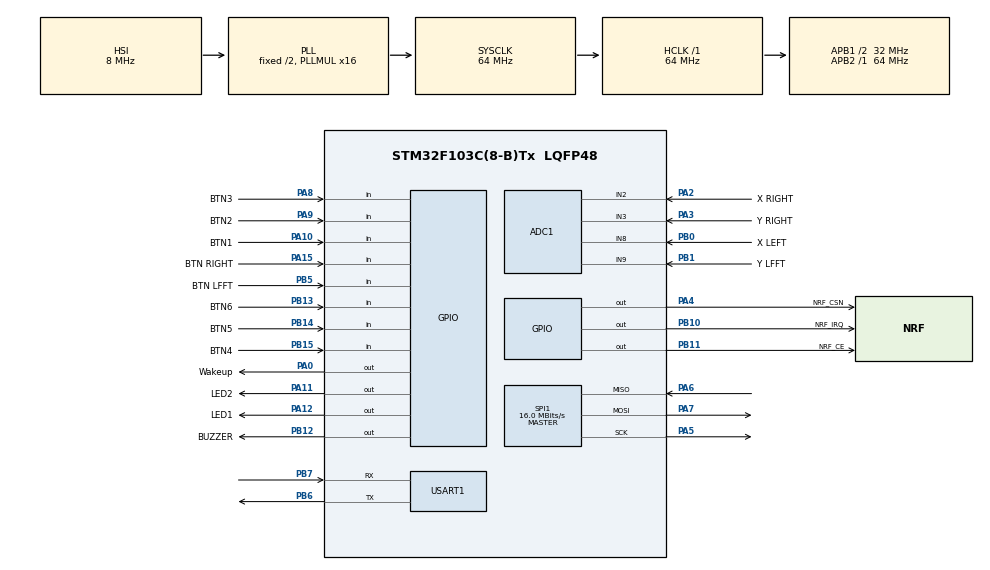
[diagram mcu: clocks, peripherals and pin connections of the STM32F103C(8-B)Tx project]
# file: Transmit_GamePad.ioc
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ADC1.Channel-0\#ChannelRegularConversion=ADC_CHANNEL_2
ADC1.Channel-1\#ChannelRegularConversion=ADC_CHANNEL_3
ADC1.Channel-2\#ChannelRegularConversion=ADC_CHANNEL_8
ADC1.Channel-3\#ChannelRegularConversion=ADC_CHANNEL_9
ADC1.ContinuousConvMode=ENABLE
ADC1.EnableInjectedConversion=DISABLE
ADC1.ExternalTrigConv=ADC_SOFTWARE_START
ADC1.NbrOfConversion=4
ADC1.NbrOfConversionFlag=1
ADC1.Rank-0\#ChannelRegularConversion=1
ADC1.Rank-1\#ChannelRegularConversion=2
ADC1.Rank-2\#ChannelRegularConversion=3
ADC1.Rank-3\#ChannelRegularConversion=4
ADC1.SamplingTime-0\#ChannelRegularConversion=ADC_SAMPLETIME_28CYCLES_5
ADC1.SamplingTime-1\#ChannelRegularConversion=ADC_SAMPLETIME_28CYCLES_5
ADC1.SamplingTime-2\#ChannelRegularConversion=ADC_SAMPLETIME_28CYCLES_5
ADC1.SamplingTime-3\#ChannelRegularConversion=ADC_SAMPLETIME_28CYCLES_5
ADC1.master=1
Dma.ADC1.0.Direction=DMA_PERIPH_TO_MEMORY
Dma.ADC1.0.Instance=DMA1_Channel1
Dma.ADC1.0.MemDataAlignment=DMA_MDATAALIGN_HALFWORD
Dma.ADC1.0.MemInc=DMA_MINC_ENABLE
Dma.ADC1.0.Mode=DMA_CIRCULAR
Dma.ADC1.0.PeriphDataAlignment=DMA_PDATAALIGN_HALFWORD
Dma.ADC1.0.PeriphInc=DMA_PINC_DISABLE
Dma.ADC1.0.Priority=DMA_PRIORITY_LOW
Dma.Request0=ADC1
Mcu.Family=STM32F1
Mcu.Name=STM32F103C(8-B)Tx
Mcu.Package=LQFP48
NVIC.DMA1_Channel1_IRQn=true\:0\:0\:false\:false\:true\:false\:true\:true
NVIC.PriorityGroup=NVIC_PRIORITYGROUP_4
PA0-WKUP.GPIO_Label=Wakeup
PA0-WKUP.Signal=GPIO_Output
PA10.GPIO_Label=BTN1
PA10.Signal=GPIO_Input
PA11.GPIO_Label=LED2
PA11.Signal=GPIO_Output
PA12.GPIO_Label=LED1
PA12.Signal=GPIO_Output
PA13.Mode=Serial_Wire
PA13.Signal=SYS_JTMS-SWDIO
PA14.Mode=Serial_Wire
PA14.Signal=SYS_JTCK-SWCLK
PA15.GPIO_Label=BTN RIGHT
PA15.GPIO_PuPd=GPIO_PULLUP
PA15.Signal=GPIO_Input
PA2.GPIO_Label=X RIGHT
PA2.Signal=ADCx_IN2
PA3.GPIO_Label=Y RIGHT
PA3.Signal=ADCx_IN3
PA4.GPIO_Label=NRF_CSN
PA4.Signal=GPIO_Output
PA5.Mode=Full_Duplex_Master
PA5.Signal=SPI1_SCK
PA6.Mode=Full_Duplex_Master
PA6.Signal=SPI1_MISO
PA7.Mode=Full_Duplex_Master
PA7.Signal=SPI1_MOSI
PA8.GPIO_Label=BTN3
PA8.Signal=GPIO_Input
PA9.GPIO_Label=BTN2
PA9.Signal=GPIO_Input
PB0.GPIO_Label=X LEFT
PB0.Signal=ADCx_IN8
PB1.GPIO_Label=Y LFFT
PB1.Signal=ADCx_IN9
PB10.GPIO_Label=NRF_IRQ
PB10.Signal=GPIO_Output
PB11.GPIO_Label=NRF_CE
PB11.Signal=GPIO_Output
PB12.GPIO_Label=BUZZER
PB12.Signal=GPIO_Output
PB13.GPIO_Label=BTN6
PB13.Signal=GPIO_Input
PB14.GPIO_Label=BTN5
PB14.Signal=GPIO_Input
PB15.GPIO_Label=BTN4
PB15.Signal=GPIO_Input
PB5.GPIO_Label=BTN LFFT
PB5.GPIO_PuPd=GPIO_PULLUP
PB5.Signal=GPIO_Input
PB6.Mode=Asynchronous
PB6.Signal=USART1_TX
PB7.Mode=Asynchronous
PB7.Signal=USART1_RX
ProjectManager.HeapSize=0x200
ProjectManager.StackSize=0x400
ProjectManager.TargetToolchain=STM32CubeIDE
RCC.ADCPresc=RCC_ADCPCLK2_DIV6
RCC.AHBFreq_Value=64000000
RCC.APB1CLKDivider=RCC_HCLK_DIV2
RCC.APB1Freq_Value=32000000
RCC.APB1TimFreq_Value=64000000
RCC.APB2Freq_Value=64000000
RCC.APB2TimFreq_Value=64000000
RCC.HCLKFreq_Value=64000000
RCC.PLLMUL=RCC_PLL_MUL16
RCC.SYSCLKFreq_VALUE=64000000
RCC.SYSCLKSource=RCC_SYSCLKSOURCE_PLLCLK
RCC.USBFreq_Value=64000000
SH.ADCx_IN2.0=ADC1_IN2,IN2
SH.ADCx_IN3.0=ADC1_IN3,IN3
SH.ADCx_IN8.0=ADC1_IN8,IN8
SH.ADCx_IN9.0=ADC1_IN9,IN9
SPI1.BaudRatePrescaler=SPI_BAUDRATEPRESCALER_4
SPI1.CalculateBaudRate=16.0 MBits/s
SPI1.Direction=SPI_DIRECTION_2LINES
SPI1.Mode=SPI_MODE_MASTER
SPI1.VirtualType=VM_MASTER
USART1.VirtualMode=VM_ASYNC
board=custom

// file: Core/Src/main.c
/* USER CODE BEGIN Header */
/**
  ******************************************************************************
  * @file           : main.c
  * @brief          : Main program body
  ******************************************************************************
  * @attention
  *
  * Copyright (c) 2025 STMicroelectronics.
  * All rights reserved.
  *
  * This software is licensed under terms that can be found in the LICENSE file
  * in the root directory of this software component.
  * If no LICENSE file comes with this software, it is provided AS-IS.
  *
  ******************************************************************************
  */
/* USER CODE END Header */
#include "main.h"

/* USER CODE BEGIN Includes */
#include "NRF24.h"
/* USER CODE END Includes */

/* USER CODE BEGIN PM */

// 4 ADC channel of two Joysticks
#define ADC_CHANNELS 4

/* USER CODE END PM */

ADC_HandleTypeDef hadc1;
DMA_HandleTypeDef hdma_adc1;

SPI_HandleTypeDef hspi1;

UART_HandleTypeDef huart1;

/* USER CODE BEGIN PV */

/*
 * [0]: X RIGHT
 * [1]: Y RIGHT
 * [2]: X LEFT
 * [3]: Y LEFT
 */
uint16_t adc_buffer[ADC_CHANNELS];

// TxAddress & TxData from NRF24 Transmit
uint8_t TxAddress[] = {0xEE, 0xDD, 0xCC, 0xBB, 0xAA};
uint8_t Tx_data[32] = {0};

/* USER CODE END PV */

void SystemClock_Config(void);
static void MX_GPIO_Init(void);
static void MX_DMA_Init(void);
static void MX_ADC1_Init(void);
static void MX_SPI1_Init(void);
static void MX_USART1_UART_Init(void);

/* USER CODE BEGIN 0 */
/* Lấy dữ liệu ADC đọc được khi xảy ra ngắt tại TIM3, 1ms ngắt 1 lần*/
void HAL_ADC_ConvCpltCallback(ADC_HandleTypeDef* hadc)
{
    if (hadc->Instance == ADC1)
    {

    }

}

/*
 * Đọc dữ liệu từ 2 Joystick và 6 nút nhấn, truyền qua NRF24
 *
 * 2 Joystick điều khiển: 1. Tăng giảm tốc độ 4 động cơ và góc roll pitch yaw; 2. Sử dụng Right Joystick để thay đổi hệ số PID
 *
 * RxData[0]: Joystick trái (Throttle) - Chỉ gửi flag tăng giảm chứ ko gửi nguyên scale giá trị ADC đọc được
 * 	- 1: tăng throttle
 * 	- 2: giảm throttle
 * 	- Khác: giữ nguyên
 *
 * RxData[1] + RxData[2] -> Yaw setpoint (1000 - 2000)
 * 	- Giải mã theo công thức: yaw = b1*100 + b2.
 *
 * RxData[3] + RxData[4] → Roll setpoint (1000–2000)
 * 	- Giải mã theo công thức: roll = b1*100 + b2.
 *
 * RxData[5] + RxData[6] → Pitch setpoint (1000–2000)
 *  - Công thức: pitch = b1*100 + b2.
 *
 * RxData[7]: FlightMode (1/2/3)
 *   - 1: Setting Mode (chỉnh hệ số PID)
 *   - 2: Flying Mode
 *     		Drone nhận trực tiếp setpoint từ joystick
 * 			Không có giữ độ cao & GPS
 * 			Tự tay điều khiển
 * 	 - 3: Waypoint/autonomous (theo GPS) & giữ độ cao thông qua MS5611
 *
 * RxData[8]: BTN2 - Stop motor
 *
 * RxData[9]: BTN3 - Start (cất cánh) - Flying Mode 2
 *
 * RxData[10]: BTN4 - Arm (vào setting mode) - Flying Mode 1
 *
 * RxData[11]: Heading clock - giữ hướng
 * Nút nhấn điều khiển Mode:
 *
 */
void ReadJoysticksAndButton(void)
{
    // Đọc giá trị ADC (0–4095) và scale về 1000–2000
    int mapYaw     = (adc_buffer[3] * 1000) / 4095 + 1000;
    int mapThrottle= (adc_buffer[2] * 1000) / 4095 + 1000;
    int mapRoll    = (adc_buffer[1] * 1000) / 4095 + 1000;
    int mapPitch   = (adc_buffer[0] * 1000) / 4095 + 1000;

    /* ====== Encode Tx_data giống bên RX mong muốn ====== */

    // Byte 0: throttle lên/xuống/giữ
    if (mapThrottle > 1600)       Tx_data[0] = 1;   // lên
    else if (mapThrottle < 1400)  Tx_data[0] = 0;   // xuống
    else                          Tx_data[0] = 255; // giữ nguyên

    // Yaw
    Tx_data[1] = mapYaw / 100;
    Tx_data[2] = mapYaw % 100;

    // Roll
    Tx_data[3] = mapRoll / 100;
    Tx_data[4] = mapRoll % 100;

    // Pitch
    Tx_data[5] = mapPitch / 100;
    Tx_data[6] = mapPitch % 100;

    // FlightMode (BTN6 = Flight Mode 3, BTN1 = FlightMode 2, mặc định = Flight Mode 1)
    if (HAL_GPIO_ReadPin(BTN6_GPIO_Port, BTN6_Pin) == GPIO_PIN_RESET) {
        Tx_data[7] = 3;
    } else if (HAL_GPIO_ReadPin(BTN1_GPIO_Port, BTN1_Pin) == GPIO_PIN_RESET) {
        Tx_data[7] = 2;
    } else {
        Tx_data[7] = 1;
    }

    /*
     * BTN2: STOP
     * BTN3: START
     * BTN4 Vào Setting Mode
     * BTN5: Heading Clock
     */
    Tx_data[8]  = (HAL_GPIO_ReadPin(BTN2_GPIO_Port, BTN2_Pin) == GPIO_PIN_RESET) ? 1 : 0;
    Tx_data[9]  = (HAL_GPIO_ReadPin(BTN3_GPIO_Port, BTN3_Pin) == GPIO_PIN_RESET) ? 1 : 0;
    Tx_data[10] = (HAL_GPIO_ReadPin(BTN4_GPIO_Port, BTN4_Pin) == GPIO_PIN_RESET) ? 1 : 0;
    Tx_data[11] = (HAL_GPIO_ReadPin(BTN5_GPIO_Port, BTN5_Pin) == GPIO_PIN_RESET) ? 1 : 0;

    // Clear các byte còn lại
    for (int i = 12; i < 32; i++) Tx_data[i] = 0;
}

void GamePad_Transmit(void)
{
    NRF24_Transmit(Tx_data);
}

/* USER CODE END 0 */

int main(void)
{

  /* MCU Configuration--------------------------------------------------------*/

  /* Reset of all peripherals, Initializes the Flash interface and the Systick. */
  HAL_Init();

  /* Configure the system clock */
  SystemClock_Config();

  /* Initialize all configured peripherals */
  MX_GPIO_Init();
  MX_DMA_Init();
  MX_ADC1_Init();
  MX_SPI1_Init();
  MX_USART1_UART_Init();
  /* USER CODE BEGIN 2 */

  // Initilize NRF24L01
  NRF24_Init();

 // Set ở chế độ Tx cho GamePad
  NRF24_TxMode(TxAddress, 10);

  // Khởi tạo ADC, đọc bằng DMA
  HAL_ADC_Start_DMA(&hadc1, (uint32_t*)adc_buffer, 4);

  // Bật 2 LED
  HAL_GPIO_WritePin(LED1_GPIO_Port, LED1_Pin, 1);
  HAL_GPIO_WritePin(LED2_GPIO_Port, LED2_Pin, 1);
  /* USER CODE END 2 */

  /* Infinite loop */
  /* USER CODE BEGIN WHILE */
  while (1)
  {
	  ReadJoysticksAndButton();
	  // Truyền dữ liệu đến Main Drone
	  GamePad_Transmit();

	  HAL_Delay(10);
    /* USER CODE END WHILE */

  }
}

void SystemClock_Config(void)
{
  RCC_OscInitTypeDef RCC_OscInitStruct = {0};
  RCC_ClkInitTypeDef RCC_ClkInitStruct = {0};
  RCC_PeriphCLKInitTypeDef PeriphClkInit = {0};

  /** Initializes the RCC Oscillators according to the specified parameters
  * in the RCC_OscInitTypeDef structure.
  */
  RCC_OscInitStruct.OscillatorType = RCC_OSCILLATORTYPE_HSI;
  RCC_OscInitStruct.HSIState = RCC_HSI_ON;
  RCC_OscInitStruct.HSICalibrationValue = RCC_HSICALIBRATION_DEFAULT;
  RCC_OscInitStruct.PLL.PLLState = RCC_PLL_ON;
  RCC_OscInitStruct.PLL.PLLSource = RCC_PLLSOURCE_HSI_DIV2;
  RCC_OscInitStruct.PLL.PLLMUL = RCC_PLL_MUL16;
  if (HAL_RCC_OscConfig(&RCC_OscInitStruct) != HAL_OK)
  {
    Error_Handler();
  }

  /** Initializes the CPU, AHB and APB buses clocks
  */
  RCC_ClkInitStruct.ClockType = RCC_CLOCKTYPE_HCLK|RCC_CLOCKTYPE_SYSCLK
                              |RCC_CLOCKTYPE_PCLK1|RCC_CLOCKTYPE_PCLK2;
  RCC_ClkInitStruct.SYSCLKSource = RCC_SYSCLKSOURCE_PLLCLK;
  RCC_ClkInitStruct.AHBCLKDivider = RCC_SYSCLK_DIV1;
  RCC_ClkInitStruct.APB1CLKDivider = RCC_HCLK_DIV2;
  RCC_ClkInitStruct.APB2CLKDivider = RCC_HCLK_DIV1;

  if (HAL_RCC_ClockConfig(&RCC_ClkInitStruct, FLASH_LATENCY_2) != HAL_OK)
  {
    Error_Handler();
  }
  PeriphClkInit.PeriphClockSelection = RCC_PERIPHCLK_ADC;
  PeriphClkInit.AdcClockSelection = RCC_ADCPCLK2_DIV6;
  if (HAL_RCCEx_PeriphCLKConfig(&PeriphClkInit) != HAL_OK)
  {
    Error_Handler();
  }
}

static void MX_ADC1_Init(void)
{

  ADC_ChannelConfTypeDef sConfig = {0};

  /** Common config
  */
  hadc1.Instance = ADC1;
  hadc1.Init.ScanConvMode = ADC_SCAN_ENABLE;
  hadc1.Init.ContinuousConvMode = ENABLE;
  hadc1.Init.DiscontinuousConvMode = DISABLE;
  hadc1.Init.ExternalTrigConv = ADC_SOFTWARE_START;
  hadc1.Init.DataAlign = ADC_DATAALIGN_RIGHT;
  hadc1.Init.NbrOfConversion = 4;
  if (HAL_ADC_Init(&hadc1) != HAL_OK)
  {
    Error_Handler();
  }

  /** Configure Regular Channel
  */
  sConfig.Channel = ADC_CHANNEL_2;
  sConfig.Rank = ADC_REGULAR_RANK_1;
  sConfig.SamplingTime = ADC_SAMPLETIME_28CYCLES_5;
  if (HAL_ADC_ConfigChannel(&hadc1, &sConfig) != HAL_OK)
  {
    Error_Handler();
  }

  /** Configure Regular Channel
  */
  sConfig.Channel = ADC_CHANNEL_3;
  sConfig.Rank = ADC_REGULAR_RANK_2;
  if (HAL_ADC_ConfigChannel(&hadc1, &sConfig) != HAL_OK)
  {
    Error_Handler();
  }

  /** Configure Regular Channel
  */
  sConfig.Channel = ADC_CHANNEL_8;
  sConfig.Rank = ADC_REGULAR_RANK_3;
  if (HAL_ADC_ConfigChannel(&hadc1, &sConfig) != HAL_OK)
  {
    Error_Handler();
  }

  /** Configure Regular Channel
  */
  sConfig.Channel = ADC_CHANNEL_9;
  sConfig.Rank = ADC_REGULAR_RANK_4;
  if (HAL_ADC_ConfigChannel(&hadc1, &sConfig) != HAL_OK)
  {
    Error_Handler();
  }

}

static void MX_SPI1_Init(void)
{

  /* SPI1 parameter configuration*/
  hspi1.Instance = SPI1;
  hspi1.Init.Mode = SPI_MODE_MASTER;
  hspi1.Init.Direction = SPI_DIRECTION_2LINES;
  hspi1.Init.DataSize = SPI_DATASIZE_8BIT;
  hspi1.Init.CLKPolarity = SPI_POLARITY_LOW;
  hspi1.Init.CLKPhase = SPI_PHASE_1EDGE;
  hspi1.Init.NSS = SPI_NSS_SOFT;
  hspi1.Init.BaudRatePrescaler = SPI_BAUDRATEPRESCALER_4;
  hspi1.Init.FirstBit = SPI_FIRSTBIT_MSB;
  hspi1.Init.TIMode = SPI_TIMODE_DISABLE;
  hspi1.Init.CRCCalculation = SPI_CRCCALCULATION_DISABLE;
  hspi1.Init.CRCPolynomial = 10;
  if (HAL_SPI_Init(&hspi1) != HAL_OK)
  {
    Error_Handler();
  }

}

static void MX_USART1_UART_Init(void)
{

  huart1.Instance = USART1;
  huart1.Init.BaudRate = 115200;
  huart1.Init.WordLength = UART_WORDLENGTH_8B;
  huart1.Init.StopBits = UART_STOPBITS_1;
  huart1.Init.Parity = UART_PARITY_NONE;
  huart1.Init.Mode = UART_MODE_TX_RX;
  huart1.Init.HwFlowCtl = UART_HWCONTROL_NONE;
  huart1.Init.OverSampling = UART_OVERSAMPLING_16;
  if (HAL_UART_Init(&huart1) != HAL_OK)
  {
    Error_Handler();
  }

}

static void MX_DMA_Init(void)
{

  /* DMA controller clock enable */
  __HAL_RCC_DMA1_CLK_ENABLE();

  /* DMA interrupt init */
  /* DMA1_Channel1_IRQn interrupt configuration */
  HAL_NVIC_SetPriority(DMA1_Channel1_IRQn, 0, 0);
  HAL_NVIC_EnableIRQ(DMA1_Channel1_IRQn);

}

static void MX_GPIO_Init(void)
{
  GPIO_InitTypeDef GPIO_InitStruct = {0};

  /* GPIO Ports Clock Enable */
  __HAL_RCC_GPIOA_CLK_ENABLE();
  __HAL_RCC_GPIOB_CLK_ENABLE();

  /*Configure GPIO pin Output Level */
  HAL_GPIO_WritePin(GPIOA, Wakeup_Pin|NRF_CSN_Pin|LED2_Pin|LED1_Pin, GPIO_PIN_RESET);

  /*Configure GPIO pin Output Level */
  HAL_GPIO_WritePin(GPIOB, NRF_IRQ_Pin|NRF_CE_Pin|BUZZER_Pin, GPIO_PIN_RESET);

  /*Configure GPIO pins : Wakeup_Pin NRF_CSN_Pin LED2_Pin LED1_Pin */
  GPIO_InitStruct.Pin = Wakeup_Pin|NRF_CSN_Pin|LED2_Pin|LED1_Pin;
  GPIO_InitStruct.Mode = GPIO_MODE_OUTPUT_PP;
  GPIO_InitStruct.Pull = GPIO_NOPULL;
  GPIO_InitStruct.Speed = GPIO_SPEED_FREQ_LOW;
  HAL_GPIO_Init(GPIOA, &GPIO_InitStruct);

  /*Configure GPIO pins : NRF_IRQ_Pin NRF_CE_Pin BUZZER_Pin */
  GPIO_InitStruct.Pin = NRF_IRQ_Pin|NRF_CE_Pin|BUZZER_Pin;
  GPIO_InitStruct.Mode = GPIO_MODE_OUTPUT_PP;
  GPIO_InitStruct.Pull = GPIO_NOPULL;
  GPIO_InitStruct.Speed = GPIO_SPEED_FREQ_LOW;
  HAL_GPIO_Init(GPIOB, &GPIO_InitStruct);

  /*Configure GPIO pins : BTN6_Pin BTN5_Pin BTN4_Pin */
  GPIO_InitStruct.Pin = BTN6_Pin|BTN5_Pin|BTN4_Pin;
  GPIO_InitStruct.Mode = GPIO_MODE_INPUT;
  GPIO_InitStruct.Pull = GPIO_NOPULL;
  HAL_GPIO_Init(GPIOB, &GPIO_InitStruct);

  /*Configure GPIO pins : BTN3_Pin BTN2_Pin BTN1_Pin */
  GPIO_InitStruct.Pin = BTN3_Pin|BTN2_Pin|BTN1_Pin;
  GPIO_InitStruct.Mode = GPIO_MODE_INPUT;
  GPIO_InitStruct.Pull = GPIO_NOPULL;
  HAL_GPIO_Init(GPIOA, &GPIO_InitStruct);

  /*Configure GPIO pin : BTN_RIGHT_Pin */
  GPIO_InitStruct.Pin = BTN_RIGHT_Pin;
  GPIO_InitStruct.Mode = GPIO_MODE_INPUT;
  GPIO_InitStruct.Pull = GPIO_PULLUP;
  HAL_GPIO_Init(BTN_RIGHT_GPIO_Port, &GPIO_InitStruct);

  /*Configure GPIO pin : BTN_LFFT_Pin */
  GPIO_InitStruct.Pin = BTN_LFFT_Pin;
  GPIO_InitStruct.Mode = GPIO_MODE_INPUT;
  GPIO_InitStruct.Pull = GPIO_PULLUP;
  HAL_GPIO_Init(BTN_LFFT_GPIO_Port, &GPIO_InitStruct);

}

void Error_Handler(void)
{
  __disable_irq();
  while (1)
  {
  }
}
